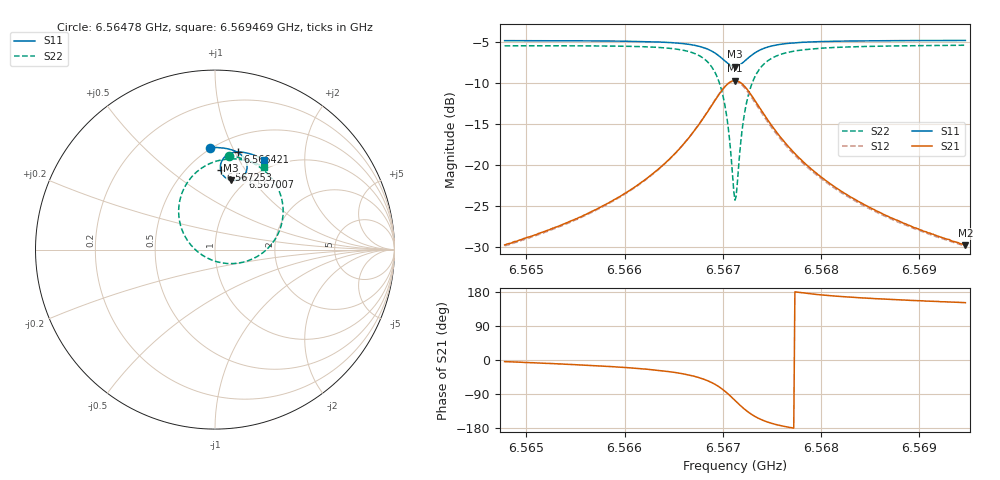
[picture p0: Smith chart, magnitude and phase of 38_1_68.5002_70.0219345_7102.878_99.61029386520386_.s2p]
#  HZ  S  RI  R  50.00
! Rohde & Schwarz Vector Network Analyzer
! Rohde-Schwarz,ZNB20-2Port,1311601062101988,3.16
! Created: UTC 3/20/2024, 4:50:12 PM
! freq[Hz]  re:S11  im:S11  re:S21  im:S21  re:S12  im:S12  re:S22  im:S22
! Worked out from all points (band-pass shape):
!   401 points, 6.56478 GHz to 6.569469 GHz, reference 50 ohm
!   highest |S21| = -9.75 dB at 6.567124 GHz (marker M1); lowest = -29.8 dB at 6.569469 GHz (marker M2)
!   |S21| within 3 dB of the highest: 6.566889 GHz to 6.567359 GHz (469.8 kHz wide, 0.00715 % of centre)
!   lowest |S11| = -8.0 dB at 6.567124 GHz (marker M3), VSWR 2.31, Z = 42.9 + j39.3 ohm
!   |S11| at or under -10 dB: nowhere
!   |S22| runs from -24.3 to -5.4 dB; largest |S21 - S12| = 0.017
!   S11 on the Smith chart (normalised r, x): 6.56478 GHz: 0.49, +0.82; 6.566421 GHz: 0.65, +1.02; 6.567007 GHz: 0.92, +0.93; 6.567253 GHz: 0.71, +0.78; 6.569469 GHz: 0.86, +1.29
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6.5647796e9  -0.0287 0.5688  0.0325 -0.00248  0.032 -0.00296  0.0761 0.5242
6.5655651e9  0.0379 0.5667  0.0473 -0.011  0.0466 -0.0116  0.1573 0.5056
6.5659871e9  0.0776 0.5599  0.0623 -0.022  0.0613 -0.0227  0.2135 0.4814
6.5663506e9  0.1169 0.5464  0.0841 -0.044  0.0829 -0.0449  0.2785 0.4364
6.5664209e9  0.1256 0.542  0.0899 -0.0512  0.0886 -0.0523  0.2938 0.4218
6.5666554e9  0.1564 0.5177  0.1125 -0.0931  0.1109 -0.0953  0.3515 0.3393
6.5668312e9  0.1769 0.4781  0.1226 -0.1632  0.1191 -0.167  0.3795 0.2041
6.5669367e9  0.1753 0.4379  0.1011 -0.234  0.094 -0.2389  0.3417 0.0692
6.5670071e9  0.1571 0.407  0.0542 -0.2866  0.0428 -0.2901  0.2527 -0.0273
6.567054e9  0.1336 0.391  0.00285 -0.3121  -0.0116 -0.3125  0.1559 -0.0702
6.5671008e9  0.103 0.3847  -0.0606 -0.3183  -0.0764 -0.3135  0.0396 -0.074
6.5671243e9  0.0868 0.3868  -0.0934 -0.3118  -0.1085 -0.304  -0.0181 -0.0581
6.5671477e9  0.0717 0.3924  -0.1241 -0.299  -0.138 -0.2889  -0.0709 -0.0308
6.5672064e9  0.0427 0.4174  -0.1827 -0.2469  -0.1909 -0.2326  -0.1656 0.0707
6.5672532e9  0.0317 0.4428  -0.2063 -0.1969  -0.2098 -0.1824  -0.198 0.1619
6.567347e9  0.0349 0.4868  -0.2079 -0.1117  -0.2058 -0.1009  -0.1858 0.3102
6.5674877e9  0.0621 0.5232  -0.1718 -0.0415  -0.1677 -0.0355  -0.1075 0.4279
6.5676636e9  0.0961 0.5397  -0.1298 -0.0066  -0.1265 -0.00358  -0.0203 0.4829
6.5679098e9  0.1329 0.5441  -0.0928 0.00956  -0.0905 0.011  0.0616 0.5037
6.5682263e9  0.1692 0.54  -0.0661 0.0152  -0.0646 0.0158  0.1294 0.5039
6.5686952e9  0.2125 0.528  -0.0452 0.0165  -0.0442 0.0168  0.1956 0.4907
6.569469e9  0.2728 0.5017  -0.0284 0.0156  -0.0279 0.0157  0.2717 0.4597
